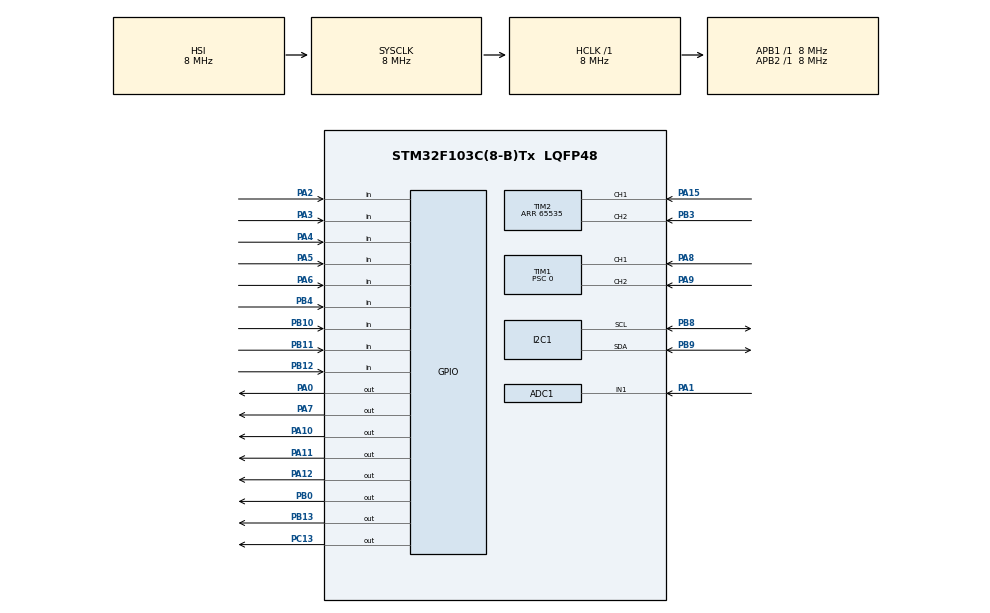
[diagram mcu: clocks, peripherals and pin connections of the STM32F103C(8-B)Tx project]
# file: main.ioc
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ADC1.Channel-0\#ChannelRegularConversion=ADC_CHANNEL_1
ADC1.ContinuousConvMode=ENABLE
ADC1.NbrOfConversion=1
ADC1.NbrOfConversionFlag=1
ADC1.Rank-0\#ChannelRegularConversion=1
ADC1.SamplingTime-0\#ChannelRegularConversion=ADC_SAMPLETIME_1CYCLE_5
ADC1.master=1
I2C1.I2C_Mode=I2C_Standard
Mcu.Family=STM32F1
Mcu.Name=STM32F103C(8-B)Tx
Mcu.Package=LQFP48
NVIC.PriorityGroup=NVIC_PRIORITYGROUP_4
PA0-WKUP.Signal=GPIO_Output
PA1.Signal=ADCx_IN1
PA10.Signal=GPIO_Output
PA11.Signal=GPIO_Output
PA12.Signal=GPIO_Output
PA13.Mode=Serial_Wire
PA13.Signal=SYS_JTMS-SWDIO
PA14.Mode=Serial_Wire
PA14.Signal=SYS_JTCK-SWCLK
PA15.GPIO_PuPd=GPIO_PULLUP
PA15.Signal=S_TIM2_CH1_ETR
PA2.GPIO_PuPd=GPIO_PULLUP
PA2.Signal=GPIO_Input
PA3.GPIO_PuPd=GPIO_PULLUP
PA3.Signal=GPIO_Input
PA4.GPIO_PuPd=GPIO_PULLUP
PA4.Signal=GPIO_Input
PA5.GPIO_PuPd=GPIO_PULLUP
PA5.Signal=GPIO_Input
PA6.GPIO_PuPd=GPIO_PULLUP
PA6.Signal=GPIO_Input
PA7.Signal=GPIO_Output
PA8.GPIO_Mode=GPIO_MODE_INPUT
PA8.GPIO_PuPd=GPIO_PULLUP
PA8.Signal=S_TIM1_CH1
PA9.GPIO_Mode=GPIO_MODE_INPUT
PA9.GPIO_PuPd=GPIO_PULLUP
PA9.Signal=S_TIM1_CH2
PB0.Signal=GPIO_Output
PB10.GPIO_PuPd=GPIO_PULLUP
PB10.Signal=GPIO_Input
PB11.GPIO_PuPd=GPIO_PULLUP
PB11.Signal=GPIO_Input
PB12.GPIO_PuPd=GPIO_PULLUP
PB12.Signal=GPIO_Input
PB13.Signal=GPIO_Output
PB3.GPIO_PuPd=GPIO_PULLUP
PB3.Signal=S_TIM2_CH2
PB4.GPIO_PuPd=GPIO_PULLUP
PB4.Signal=GPIO_Input
PB8.Mode=I2C
PB8.Signal=I2C1_SCL
PB9.Mode=I2C
PB9.Signal=I2C1_SDA
PC13-TAMPER-RTC.Signal=GPIO_Output
ProjectManager.HeapSize=0x200
ProjectManager.StackSize=0x400
ProjectManager.TargetToolchain=Makefile
RCC.AHBFreq_Value=8000000
RCC.APB1Freq_Value=8000000
RCC.APB1TimFreq_Value=8000000
RCC.APB2Freq_Value=8000000
RCC.APB2TimFreq_Value=8000000
RCC.HCLKFreq_Value=8000000
RCC.SYSCLKFreq_VALUE=8000000
RCC.USBFreq_Value=8000000
SH.ADCx_IN1.0=ADC1_IN1,IN1
SH.S_TIM1_CH1.0=TIM1_CH1,Encoder_Interface
SH.S_TIM1_CH2.0=TIM1_CH2,Encoder_Interface
SH.S_TIM2_CH1_ETR.0=TIM2_CH1,Encoder_Interface
SH.S_TIM2_CH2.0=TIM2_CH2,Encoder_Interface
TIM1.ClockDivision=TIM_CLOCKDIVISION_DIV1
TIM1.CounterMode=TIM_COUNTERMODE_UP
TIM1.EncoderMode=TIM_ENCODERMODE_TI1
TIM1.IC1Filter=0
TIM1.IC2Filter=0
TIM1.Period=65535
TIM1.Prescaler=0
TIM2.Period=65535
board=stm32-si5351-vfo

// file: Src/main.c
/* USER CODE BEGIN Header */
/**
  ******************************************************************************
  * @file           : main.c
  * @brief          : Main program body
  ******************************************************************************
  ** This notice applies to any and all portions of this file
  * that are not between comment pairs USER CODE BEGIN and
  * USER CODE END. Other portions of this file, whether
  * inserted by the user or by software development tools
  * are owned by their respective copyright owners.
  *
  * COPYRIGHT(c) 2020 STMicroelectronics
  *
  * Redistribution and use in source and binary forms, with or without modification,
  * are permitted provided that the following conditions are met:
  *   1. Redistributions of source code must retain the above copyright notice,
  *      this list of conditions and the following disclaimer.
  *   2. Redistributions in binary form must reproduce the above copyright notice,
  *      this list of conditions and the following disclaimer in the documentation
  *      and/or other materials provided with the distribution.
  *   3. Neither the name of STMicroelectronics nor the names of its contributors
  *      may be used to endorse or promote products derived from this software
  *      without specific prior written permission.
  *
  * THIS SOFTWARE IS PROVIDED BY THE COPYRIGHT HOLDERS AND CONTRIBUTORS "AS IS"
  * AND ANY EXPRESS OR IMPLIED WARRANTIES, INCLUDING, BUT NOT LIMITED TO, THE
  * IMPLIED WARRANTIES OF MERCHANTABILITY AND FITNESS FOR A PARTICULAR PURPOSE ARE
  * DISCLAIMED. IN NO EVENT SHALL THE COPYRIGHT HOLDER OR CONTRIBUTORS BE LIABLE
  * FOR ANY DIRECT, INDIRECT, INCIDENTAL, SPECIAL, EXEMPLARY, OR CONSEQUENTIAL
  * DAMAGES (INCLUDING, BUT NOT LIMITED TO, PROCUREMENT OF SUBSTITUTE GOODS OR
  * SERVICES; LOSS OF USE, DATA, OR PROFITS; OR BUSINESS INTERRUPTION) HOWEVER
  * CAUSED AND ON ANY THEORY OF LIABILITY, WHETHER IN CONTRACT, STRICT LIABILITY,
  * OR TORT (INCLUDING NEGLIGENCE OR OTHERWISE) ARISING IN ANY WAY OUT OF THE USE
  * OF THIS SOFTWARE, EVEN IF ADVISED OF THE POSSIBILITY OF SUCH DAMAGE.
  *
  ******************************************************************************
  */
/* USER CODE END Header */

#include "main.h"

/* USER CODE BEGIN Includes */
#include <string.h>
#include <stdlib.h>
#include <stdbool.h>
#include "si5351.h"
#include "lcd.h"
#include "spur_masking.h"

/* USER CODE END Includes */

ADC_HandleTypeDef hadc1;

I2C_HandleTypeDef hi2c1;

TIM_HandleTypeDef htim1;
TIM_HandleTypeDef htim2;

/* USER CODE BEGIN PV */
/* Private variables ---------------------------------------------------------*/

/* USER CODE END PV */

void SystemClock_Config(void);
static void MX_GPIO_Init(void);
static void MX_TIM1_Init(void);
static void MX_I2C1_Init(void);
static void MX_ADC1_Init(void);
static void MX_TIM2_Init(void);
/* USER CODE BEGIN PFP */
/* Private function prototypes -----------------------------------------------*/

/* USER CODE END PFP */

/* USER CODE BEGIN 0 */

#define CH_BFO1 0
#define CH_BFO2 1
#define CH_VFO_AND_CW  2

// IF2 Frequency can be tweaked a bit to reach lower insertion
// losses of the filter and/or to supress spurious signals

const int32_t IF2Frequency = 45000000 - 10000 /* supress spurs */;
const int32_t AlternativeIF2Frequency = 45000000 - 11500;

const int32_t XtalFilterCenterFrequency = 8998250;
const int32_t si5351_correction = 6468;

/* Adjust for used rotary encoders */
#define MAIN_DELTA_DIV 20
#define MAIN_DELTA_MULT -1
#define MULTI_DELTA_DIV 1
#define MULTI_DELTA_MULT 1

int32_t Fvfo = 1000000; // dummy value, will be changed below

const uint8_t ads1115_i2c_addr = (0x48 << 1);
typedef enum {
	ADS1115_CHANNEL_0 = 0,
	ADS1115_CHANNEL_1 = 1,
	ADS1115_CHANNEL_2 = 2,
	ADS1115_CHANNEL_3 = 3,
} ADS1115Channel_t;

const uint8_t eeprom_i2c_addr = (0x50 << 1);
#define KEYER_CONFIG_EEPROM_ADDR        0x0000

typedef enum {
	CLAR_MODE_DISABLED = 0,
	CLAR_MODE_RIT = 1,
	CLAR_MODE_XIT = 2,
} ClarMode_t;

bool lockMode = false;
bool fastMode = false;
bool bandMode = false;
bool shiftMode = false;
ClarMode_t clarMode = CLAR_MODE_DISABLED;

int32_t clarOffset = 0;
int32_t shiftOffset = 0;

int32_t sendStart = 0;
int32_t sendFinish = 0;
int32_t keyReadTimeout = 0;
int32_t sendTimeout = 0;
bool isSending = false;

typedef enum {
	CW_SEND_NONE = 0,
	CW_SEND_DIT = 1,
	CW_SEND_DAH = 2,
} CwSend_t;

CwSend_t lastSent = CW_SEND_NONE;
CwSend_t nextSend = CW_SEND_NONE;

typedef struct {
    uint16_t checksum;
    bool straightKey;
    int32_t speedWPM;
    int32_t ditTimeMs;
} KeyerConfig_t;

KeyerConfig_t keyerConfig = {
	.checksum = 0,
	.straightKey = false,
	.speedWPM = 18,

	// ditTimeMs = 60*1000/(50*WPM)
	// where 50 is the length in dits of "PARIS "
	// see https://morsecode.world/international/timing.html
	.ditTimeMs = 67,
};

bool inTransmitMode = false;
bool inCWTrainerMode = false;

#define BUTTON_DEBOUNCE_TIME_MS 200
typedef enum {
	BUTTON_STATUS_PRESSED = 0,
	BUTTON_STATUS_RELEASED = 1,
	BUTTON_STATUS_DEBOUNCE = 2,
} ButtonStatus_t;

typedef enum {
	USE_LPF_80 = 0,
	USE_LPF_40 = 1,
	USE_LPF_20 = 2,
	USE_LPF_15 = 3,
	USE_LPF_10 = 4,
} UseLPF_t;

typedef struct {
    int32_t minFreq;
    int32_t maxFreq;
    int32_t lastFreq;
    UseLPF_t lpf;
    /*
     * Compensate for losses in RG-174, frequency response of the given
     * PA depending on the used transistor, imperfections of the LPFs, etc.
     */
    si5351DriveStrength_t txDriveStrength;
} BandInfo_t;

int32_t currentBand = 3; // default: 20m

#define BANDS_NUMBER 8
BandInfo_t bands[BANDS_NUMBER] = {
	{
		.minFreq  = 3500000,
		.maxFreq  = 3570000,
		.lastFreq = 3560000,
		.lpf = USE_LPF_80,
		.txDriveStrength = SI5351_DRIVE_STRENGTH_2MA,
	},
	{
		.minFreq  = 7000000,
		.maxFreq  = 7040000,
		.lastFreq = 7030000,
		.lpf = USE_LPF_40,
		.txDriveStrength = SI5351_DRIVE_STRENGTH_2MA,
	},
	{
		.minFreq  = 10100000,
		.maxFreq  = 10130000,
		.lastFreq = 10116000,
		.lpf = USE_LPF_20,
		.txDriveStrength = SI5351_DRIVE_STRENGTH_2MA,
	},
	{
		.minFreq  = 14000000,
		.maxFreq  = 14070000,
		.lastFreq = 14060000,
		.lpf = USE_LPF_20,
		.txDriveStrength = SI5351_DRIVE_STRENGTH_2MA,
	},
	{
		.minFreq  = 18068000,
		.maxFreq  = 18095000,
		.lastFreq = 18086000,
		.lpf = USE_LPF_15,
		.txDriveStrength = SI5351_DRIVE_STRENGTH_2MA,
	},
	{
		.minFreq  = 21000000,
		.maxFreq  = 21070000,
		.lastFreq = 21060000,
		.lpf = USE_LPF_15,
		.txDriveStrength = SI5351_DRIVE_STRENGTH_8MA,
	},
	{
		.minFreq  = 24890000,
		.maxFreq  = 24915000,
		.lastFreq = 24906000,
		.lpf = USE_LPF_10,
		.txDriveStrength = SI5351_DRIVE_STRENGTH_8MA,
	},
	{
		.minFreq  = 28000000,
		.maxFreq  = 28070000,
		.lastFreq = 28060000,
		.lpf = USE_LPF_10,
		.txDriveStrength = SI5351_DRIVE_STRENGTH_8MA,
	},
};

// http://en.wikipedia.org/wiki/Jenkins_hash_function
uint32_t jenkinsHash(const uint8_t *data, const size_t len) {
  uint32_t hash, i;
  for(hash = i = 0; i < len; ++i) {
    hash += data[i];
    hash += (hash << 10);
    hash ^= (hash >> 6);
  }
  hash += (hash << 3);
  hash ^= (hash >> 11);
  hash += (hash << 15);
  return hash;
}

void loadKeyerConfig() {
    HAL_StatusTypeDef status;
    uint16_t savedChecksum;
    KeyerConfig_t savedKeyerConfig;

    for(;;) {
        status = HAL_I2C_IsDeviceReady(&hi2c1, eeprom_i2c_addr, 3, HAL_MAX_DELAY);
        if(status == HAL_OK)
            break;
    }

    HAL_I2C_Mem_Read(&hi2c1, eeprom_i2c_addr, KEYER_CONFIG_EEPROM_ADDR, I2C_MEMADD_SIZE_16BIT,
        (uint8_t*)&savedKeyerConfig, sizeof(savedKeyerConfig), HAL_MAX_DELAY);

    savedChecksum = savedKeyerConfig.checksum;
    savedKeyerConfig.checksum = 0;

    if((jenkinsHash((const uint8_t*)&savedKeyerConfig, sizeof(savedKeyerConfig)) & 0xFFFF) == savedChecksum) {
        keyerConfig = savedKeyerConfig;
    } else {
        LCD_Goto(0, 0);
        LCD_SendString("CHECKSUM");
        LCD_Goto(1, 0);
        LCD_SendString(" ERROR! ");
        HAL_Delay(2000);
        LCD_Clear();
    }
}

void saveKeyerConfig() {
    HAL_StatusTypeDef status;
    uint16_t checksum;
    keyerConfig.checksum = 0;

    checksum = (jenkinsHash((const uint8_t*)&keyerConfig, sizeof(keyerConfig)) & 0xFFFF);
    keyerConfig.checksum = checksum;

    for(;;) {
        status = HAL_I2C_IsDeviceReady(&hi2c1, eeprom_i2c_addr, 3, HAL_MAX_DELAY);
        if(status == HAL_OK)
            break;
    }

    HAL_I2C_Mem_Write(&hi2c1, eeprom_i2c_addr, KEYER_CONFIG_EEPROM_ADDR, I2C_MEMADD_SIZE_16BIT,
        (uint8_t*)&keyerConfig, sizeof(keyerConfig), HAL_MAX_DELAY);
}

double getADS1115Voltage(ADS1115Channel_t ch) {
	int16_t reading;
	uint8_t conversion[2];
	uint8_t config[] = { 0xC1, 0x83 };

	switch(ch) {
	case ADS1115_CHANNEL_0:
		config[0] = 0xC1;
		break;
	case ADS1115_CHANNEL_1:
		config[0] = 0xD1;
		break;
	case ADS1115_CHANNEL_2:
		config[0] = 0xE1;
		break;
	case ADS1115_CHANNEL_3:
		config[0] = 0xF1;
		break;
	}

    // Write to the config register (0x01):
    // byte 1: single conversion, channel number, FSR +/- 6.114 V, single shot
    // byte 2: 128 SPS, default comparator options, ALTR pin High-Z
    // For more detauls see section "9.6 Register Map" of the datasheet.
	HAL_I2C_Mem_Write(&hi2c1, ads1115_i2c_addr, 0x01, I2C_MEMADD_SIZE_8BIT,
		config, sizeof(config), HAL_MAX_DELAY);

	// Read from the conversion register (0x00)
	HAL_I2C_Mem_Read(&hi2c1, ads1115_i2c_addr, 0x00, I2C_MEMADD_SIZE_8BIT,
		conversion, sizeof(conversion), HAL_MAX_DELAY);

	reading = ((int16_t)conversion[0] << 8) | (int16_t)conversion[1];
	return ((double)reading) * (6.114 / 32768.0);
}

void changeKeyerSpeed(int32_t delta) {
	keyerConfig.speedWPM += delta;
	if(keyerConfig.speedWPM < 10) {
		keyerConfig.speedWPM = 9;
		keyerConfig.straightKey = true;
		keyerConfig.ditTimeMs = 60*1000/(50*15); // as for 15 WPM
	} else {
		keyerConfig.straightKey = false;
		if(keyerConfig.speedWPM > 30) {
			keyerConfig.speedWPM = 30;
		}

		keyerConfig.ditTimeMs = 60*1000/(50*keyerConfig.speedWPM);
	}
}

void SetupCLK(uint8_t output, int32_t Fclk, si5351DriveStrength_t driveStrength) {
	static bool pllSetupDone = false;
	si5351PLLConfig_t pll_conf;
	si5351OutputConfig_t out_conf;

	si5351_Calc(Fclk, &pll_conf, &out_conf);
	if(!pllSetupDone) {
		si5351_SetupPLL(SI5351_PLL_A, &pll_conf);
		pllSetupDone = true;
	}
	si5351_SetupOutput(output, SI5351_PLL_A, driveStrength, &out_conf);
}

// Switch on/off ENABLE_RX output
void enableRx(bool enable) {
	HAL_GPIO_WritePin(GPIOC, GPIO_PIN_13, enable ? GPIO_PIN_SET : GPIO_PIN_RESET);
}

// Switch on/off ENABLE_TX output
void enableTx(bool enable) {
	HAL_GPIO_WritePin(GPIOA, GPIO_PIN_0, enable ? GPIO_PIN_SET : GPIO_PIN_RESET);
}

void changeFrequency(int32_t delta, bool force) {
	static int32_t prevFvfo = 0;
	static int32_t prevFbfo1 = 0;
	static int32_t prevFbfo2 = 0;
	if((!force) && lockMode) {
		return;
	}

	if(fastMode) {
		delta *= 10;
	}
	bands[currentBand].lastFreq += 100*delta;
	if(fastMode && (delta != 0)) {
		bands[currentBand].lastFreq -= bands[currentBand].lastFreq % 1000;
	}

	if(bands[currentBand].lastFreq < bands[currentBand].minFreq) {
		bands[currentBand].lastFreq = bands[currentBand].minFreq;
	} else if(bands[currentBand].lastFreq > bands[currentBand].maxFreq) {
		bands[currentBand].lastFreq = bands[currentBand].maxFreq;
	}

	Fvfo = bands[currentBand].lastFreq;
	if(clarMode == CLAR_MODE_RIT) {
		Fvfo += clarOffset;
	}

	int32_t Fbfo1 = XtalFilterCenterFrequency + 1000;
	int32_t Fbfo2 = IF2Frequency + XtalFilterCenterFrequency;

	// mask the spurs
	const SpurMaskInfo* maskInfo = getSpurMaskingInfo(Fvfo);
	if(maskInfo != NULL) {
		Fvfo += maskInfo->clar;
		Fbfo1 -= maskInfo->shift;
		Fbfo2 -= maskInfo->shift;
		if(maskInfo->useAlternativeIF2Frequency) {
			Fbfo2 += AlternativeIF2Frequency - IF2Frequency;
			Fvfo += AlternativeIF2Frequency - IF2Frequency;
		}
	}

	Fvfo += IF2Frequency;

	if(shiftMode) {
		// SHIFT basically moves XtalFilterCenterFrequency
		Fbfo1 -= shiftOffset;
		Fbfo2 -= shiftOffset;
	}

	if(force || (Fbfo1 != prevFbfo1)) {
		SetupCLK(CH_BFO1, Fbfo1, SI5351_DRIVE_STRENGTH_4MA);
	}

	if(force || (Fbfo2 != prevFbfo2)) {
		SetupCLK(CH_BFO2, Fbfo2, SI5351_DRIVE_STRENGTH_4MA);
	}

	if(force || (Fvfo != prevFvfo)) {
		SetupCLK(CH_VFO_AND_CW, Fvfo, SI5351_DRIVE_STRENGTH_4MA);
	}

	prevFvfo = Fvfo;
	prevFbfo1 = Fbfo1;
	prevFbfo2 = Fbfo2;
}

void displayKeyerSettings() {
	char buff[16];
	if(keyerConfig.straightKey) {
		LCD_Goto(0, 0);
		LCD_SendString("SPEED --");
		LCD_Goto(1, 0);
		LCD_SendString("STRAIGHT");
	} else {
		snprintf(buff, sizeof(buff), "SPEED %02ld", keyerConfig.speedWPM);
		LCD_Goto(0, 0);
		LCD_SendString(buff);
		LCD_Goto(1, 0);
		LCD_SendString("IAMBIC  ");
	}
}

void displayFrequency() {
	char buff[16];
	snprintf(buff, sizeof(buff), "%02ld.%03ld.%01ld",
		bands[currentBand].lastFreq / 1000000,
		(bands[currentBand].lastFreq % 1000000) / 1000,
		(bands[currentBand].lastFreq % 1000) / 100);

    LCD_Goto(0, 0);
    LCD_SendString(buff);
}

void displayVoltageOrMode(bool force) {
	// don't forget to add '-u _printf_float' to LDFLAGS
	char buff[16];
	static int32_t lastVoltageUpdate = 0;
	static int32_t lastVoltageValue = 0;
    static double prevVoltage = 0.0;

	if(force) {
		LCD_Goto(1, 0);
		if(fastMode) {
			snprintf(buff, sizeof(buff), "%s FAST",
				shiftMode ? "SFT" :
					(clarMode == CLAR_MODE_DISABLED ? "RX " :
						(clarMode == CLAR_MODE_RIT ? "RIT" : "XIT")));
			LCD_SendString(buff);
			return;
		} else if(lockMode) {
			snprintf(buff, sizeof(buff), "%s LOCK",
				shiftMode ? "SFT" :
					(clarMode == CLAR_MODE_DISABLED ? "RX " :
						(clarMode == CLAR_MODE_RIT ? "RIT" : "XIT")));
			LCD_SendString(buff);
			return;
		} else if(bandMode) {
			snprintf(buff, sizeof(buff), "%s BAND",
				shiftMode ? "SFT" :
					(clarMode == CLAR_MODE_DISABLED ? "RX " :
						(clarMode == CLAR_MODE_RIT ? "RIT" : "XIT")));
			LCD_SendString(buff);
			return;
		} else if(shiftMode) {
			snprintf(buff, sizeof(buff), "SFT%s%04d",
				shiftOffset < 0 ? "-" : "+",
				abs(shiftOffset));
			LCD_SendString(buff);
			return;
		} else if(clarMode != CLAR_MODE_DISABLED) {
			snprintf(buff, sizeof(buff), "%s%s%04d",
				clarMode == CLAR_MODE_RIT ? "RIT" : "XIT",
				clarOffset < 0 ? "-" : "+",
				abs(clarOffset));
			LCD_SendString(buff);
			return;
		}
	}

	uint32_t now = HAL_GetTick();
	if(now - lastVoltageUpdate > 1000) {
	    HAL_ADC_PollForConversion(&hadc1, HAL_MAX_DELAY);
		lastVoltageValue = HAL_ADC_GetValue(&hadc1);
		lastVoltageUpdate = now;
	}

	double voltage = ((double)(lastVoltageValue)-1220.0)/190.0 + 6.9;
    if((!force) && (abs((int)(voltage*10) - (int)(prevVoltage*10)) <= 1)) {
		return;
	}

	prevVoltage = voltage;
	if(voltage < 9.95) {
		snprintf(buff, sizeof(buff), "RX  %.1fV", voltage);
	} else {
		snprintf(buff, sizeof(buff), "RX %.1fV", voltage);
	}

	LCD_Goto(1, 0);
	LCD_SendString(buff);
}

/*
 * Don't check SWR when the carrier is not transmitted.
 * This reduces digital noise in the headphones.
 */
bool checkSWR = false;

void keyDown() {
	// CW tone ON
	HAL_GPIO_WritePin(GPIOB, GPIO_PIN_13, GPIO_PIN_SET);
	if(inTransmitMode) {
		si5351_EnableOutputs(1 << CH_VFO_AND_CW);
		checkSWR = true;
	}
}

void keyUp() {
	// CW tone OFF
	HAL_GPIO_WritePin(GPIOB, GPIO_PIN_13, GPIO_PIN_RESET);
	if(inTransmitMode) {
		si5351_EnableOutputs(0);
		checkSWR = false;
	}
}

void switchLPFs(UseLPF_t lpf) {
	HAL_GPIO_WritePin(GPIOA, GPIO_PIN_10, lpf == USE_LPF_80 ? GPIO_PIN_SET : GPIO_PIN_RESET);
	HAL_GPIO_WritePin(GPIOA, GPIO_PIN_11, lpf == USE_LPF_40 ? GPIO_PIN_SET : GPIO_PIN_RESET);
	HAL_GPIO_WritePin(GPIOA, GPIO_PIN_12, lpf == USE_LPF_20 ? GPIO_PIN_SET : GPIO_PIN_RESET);
	HAL_GPIO_WritePin(GPIOB, GPIO_PIN_0,  lpf == USE_LPF_15 ? GPIO_PIN_SET : GPIO_PIN_RESET);
	HAL_GPIO_WritePin(GPIOA, GPIO_PIN_7,  lpf == USE_LPF_10 ? GPIO_PIN_SET : GPIO_PIN_RESET);
}

void changeBand(int32_t delta) {
	currentBand += delta;
	while(currentBand < 0) {
		currentBand += BANDS_NUMBER;
	}
	currentBand %= BANDS_NUMBER;

	switchLPFs(bands[currentBand].lpf);
	changeFrequency(0, false);
	si5351_EnableOutputs((1 << CH_VFO_AND_CW)|(1 << CH_BFO1)|(1 << CH_BFO2));
	displayFrequency();
}

void enterCWTrainerMode() {
	if(inCWTrainerMode) {
		return;
	}

	enableRx(false);
	inCWTrainerMode = true;
}

void leaveCWTrainerMode() {
	if(!inCWTrainerMode) {
		return;
	}

	enableRx(true);
	inCWTrainerMode = false;
}

void ensureTransmitMode() {
	if(inTransmitMode) {
		return;
	}

	int32_t targetFrequency = bands[currentBand].lastFreq;
	if(clarMode == CLAR_MODE_XIT) {
		targetFrequency += clarOffset;
	}

	si5351_EnableOutputs(0);
	SetupCLK(CH_VFO_AND_CW, targetFrequency, bands[currentBand].txDriveStrength);
	enableRx(false);
	enableTx(true);

	LCD_Goto(1, 0);
	LCD_SendString("TRANSMIT");

	inTransmitMode = true;
}

void ensureReceiveMode() {
	if(!inTransmitMode) {
		return;
	}
	enableTx(false);
	enableRx(true);

	// Restore the original VFO.
	// Using force=true because the VFO has changed, but changeFrequency()
	// doesn't know about it.
	changeFrequency(0, true);
	si5351_EnableOutputs((1 << CH_VFO_AND_CW)|(1 << CH_BFO1)|(1 << CH_BFO2));
	displayVoltageOrMode(true);
	inTransmitMode = false;
}

ButtonStatus_t buttonPressed(GPIO_TypeDef *GPIOx, uint16_t GPIO_Pin, uint32_t* lastPressed) {
	if(HAL_GPIO_ReadPin(GPIOx, GPIO_Pin) == GPIO_PIN_RESET) {
		uint32_t now = HAL_GetTick();
		if(now - *lastPressed > BUTTON_DEBOUNCE_TIME_MS) {
			*lastPressed = now;
			return BUTTON_STATUS_PRESSED;
		} else {
			return BUTTON_STATUS_DEBOUNCE;
		}
	}
	return BUTTON_STATUS_RELEASED;
}

bool buttonDitPressed() {
	return (HAL_GPIO_ReadPin(GPIOB, GPIO_PIN_11) == GPIO_PIN_RESET);
}

bool buttonDahPressed() {
	return (HAL_GPIO_ReadPin(GPIOB, GPIO_PIN_12) == GPIO_PIN_RESET);
}

bool switchRitMode() {
	return (HAL_GPIO_ReadPin(GPIOB, GPIO_PIN_4) == GPIO_PIN_RESET);
}

ButtonStatus_t buttonBandPressed() {
	static uint32_t lastPressed = 0;
	return buttonPressed(GPIOA, GPIO_PIN_3, &lastPressed);
}

ButtonStatus_t buttonFastPressed() {
	static uint32_t lastPressed = 0;
	return buttonPressed(GPIOB, GPIO_PIN_10, &lastPressed);
}

ButtonStatus_t buttonLockPressed() {
	static uint32_t lastPressed = 0;
	return buttonPressed(GPIOA, GPIO_PIN_2, &lastPressed);
}

ButtonStatus_t buttonClarPressed() {
	static uint32_t lastPressed = 0;
	return buttonPressed(GPIOA, GPIO_PIN_5, &lastPressed);
}

ButtonStatus_t buttonShiftPressed() {
	static uint32_t lastPressed = 0;
	return buttonPressed(GPIOA, GPIO_PIN_4, &lastPressed);
}

ButtonStatus_t buttonKeyerPressed() {
	static uint32_t lastPressed = 0;
	return buttonPressed(GPIOA, GPIO_PIN_6, &lastPressed);
}

// `straightKeyerKeyIsDown` is used to avoid calling keyUp()/keyDown() if we did it already.
// Calling HAL_GPIO_WritePin() too often generates a hearable noise.
bool straightKeyerKeyIsDown;

void initStraightKeyer() {
	straightKeyerKeyIsDown = false;
}

void processStraightKeyerLogic(bool pressed) {
	if(pressed) {
		if(!straightKeyerKeyIsDown) {
			keyDown();
			straightKeyerKeyIsDown = true;
		}
	} else if(straightKeyerKeyIsDown) {
		keyUp();
		straightKeyerKeyIsDown = false;
	}
}

void initIambicKeyer() {
	// iambic keyer doesn't need to init anything
}

void processIambicKeyerLogic(bool ditPressed, bool dahPressed) {
	int32_t now = HAL_GetTick();

	if(isSending && (now >= sendFinish)) {
		keyUp();
		isSending = false;
	}

	if(nextSend == CW_SEND_NONE) {
		if(ditPressed && (lastSent == CW_SEND_DAH)) {
			nextSend = CW_SEND_DIT;
		} else if(dahPressed && (lastSent == CW_SEND_DIT)) {
			nextSend = CW_SEND_DAH;
		} else if(now > keyReadTimeout) {
			if(ditPressed) {
				nextSend = CW_SEND_DIT;
			} else if (dahPressed) {
				nextSend = CW_SEND_DAH;
			}
		}
	}

	if((now > sendTimeout) && (nextSend != CW_SEND_NONE)) {
		if(nextSend == CW_SEND_DIT) {
			sendFinish = now + keyerConfig.ditTimeMs;
			keyReadTimeout = now + keyerConfig.ditTimeMs*2;
		} else if(nextSend == CW_SEND_DAH) {
			sendFinish = now + keyerConfig.ditTimeMs*3;
			keyReadTimeout = now + keyerConfig.ditTimeMs*3;
		}

		lastSent = nextSend;
		nextSend = CW_SEND_NONE;
		sendStart = now;
		sendTimeout = sendFinish + keyerConfig.ditTimeMs;
		isSending = true;
		keyDown();
	}
}

int32_t getDelta(TIM_HandleTypeDef* htim, int32_t *prevCounter, int32_t mult, int32_t div) {
	int32_t currCounter = __HAL_TIM_GET_COUNTER(htim);
	currCounter = mult*(currCounter / div);
	currCounter = 32767 - ((currCounter-1) & 0xFFFF) / 2;
	if(currCounter > 32768/2) {
		// convert ... 32766, 32767, 0, 1, 2 ... into:
		//               ... -2, -1, 0, 1, 2 ...
		// this simplifies `delta` calculation
		currCounter = currCounter-32768;
	}

	if(currCounter != *prevCounter) {
		int32_t delta = *prevCounter-currCounter;
		*prevCounter = currCounter;

		// debounce or skip counter overflow
		if((delta > -10) && (delta < 10)) {
			return delta;
		}
	}

	return 0;
}

void loopKeyer() {
	uint32_t CWTrainerModeEnterTime = 0;
	int32_t prevCounter = 0;
	displayKeyerSettings();
	// read the initial counter value
	(void)getDelta(&htim2, &prevCounter, MULTI_DELTA_MULT, MULTI_DELTA_DIV);

	for(;;) {
		bool ditPressed = buttonDitPressed();
		bool dahPressed = buttonDahPressed();

		if((ditPressed || dahPressed)) {
			CWTrainerModeEnterTime = HAL_GetTick();
			if(!inCWTrainerMode) {
				enterCWTrainerMode();
				if(keyerConfig.straightKey) {
					initStraightKeyer();
				} else {
					initIambicKeyer();
				}
			}
		} else {
			uint32_t tstamp = HAL_GetTick();
			if(tstamp - CWTrainerModeEnterTime > keyerConfig.ditTimeMs*10) {
				leaveCWTrainerMode();
			}
		}

		if(inCWTrainerMode) {
			if(keyerConfig.straightKey) {
				processStraightKeyerLogic(ditPressed);
			} else {
				processIambicKeyerLogic(ditPressed, dahPressed);
			}
		}

		int32_t delta = getDelta(&htim2, &prevCounter, MULTI_DELTA_MULT, MULTI_DELTA_DIV);
		if(delta != 0) {
			// reset the keyer logic if dit or dah is presset
			leaveCWTrainerMode();
			keyUp();
			changeKeyerSpeed(delta);
			displayKeyerSettings();
		}

		if(buttonKeyerPressed() == BUTTON_STATUS_PRESSED) {
			break;
		}

		HAL_Delay(5);
	}

	leaveCWTrainerMode();
	saveKeyerConfig();
	displayFrequency();
	displayVoltageOrMode(true);
}

void loopBand() {
	ClarMode_t prevClarMode = CLAR_MODE_DISABLED;
	int32_t prevCounter = 0;

	bandMode = true;
	displayVoltageOrMode(true);

	// read the initial counter value
	(void)getDelta(&htim1, &prevCounter, MAIN_DELTA_MULT, MAIN_DELTA_DIV);

	for(;;) {
		if(clarMode != CLAR_MODE_DISABLED) {
			if(switchRitMode()) {
				clarMode = CLAR_MODE_RIT;
			} else {
				clarMode = CLAR_MODE_XIT;
			}

			if(clarMode != prevClarMode) {
				displayVoltageOrMode(true);
				changeFrequency(0, false);
				prevClarMode = clarMode;
			}
		}

		int32_t delta = getDelta(&htim1, &prevCounter, MAIN_DELTA_MULT, MAIN_DELTA_DIV);
		if(delta != 0) {
			changeBand(delta);
		}

		if(buttonBandPressed() == BUTTON_STATUS_PRESSED) {
			break;
		}

		HAL_Delay(5);
	}

	bandMode = false;
	displayVoltageOrMode(true);
}

void loopMain() {
	static int32_t prevMainCounter = 0;
	static int32_t prevMultiCounter = 0;
	static uint32_t transmitModeEnterTime = 0;
	static bool highSWR = false;
	static uint32_t lastSWRCheckTime = 0;
	static bool prevClarModeRit = false;
	bool ditPressed = buttonDitPressed();
	bool dahPressed = buttonDahPressed();

	if(ditPressed || dahPressed) {
		transmitModeEnterTime = HAL_GetTick();
		if(!inTransmitMode) {
			ensureTransmitMode();
			highSWR = false;
			lastSWRCheckTime = 0;

			if(keyerConfig.straightKey) {
				initStraightKeyer();
			} else {
				initIambicKeyer();
			}
		}
	} else {
		uint32_t tstamp = HAL_GetTick();
		if((tstamp - transmitModeEnterTime > keyerConfig.ditTimeMs*15) && (inTransmitMode)) {
			ensureReceiveMode();
			// discard any changes in counters
			(void)getDelta(&htim1, &prevMainCounter, MAIN_DELTA_MULT, MAIN_DELTA_DIV);
			(void)getDelta(&htim2, &prevMultiCounter, MULTI_DELTA_MULT, MULTI_DELTA_DIV);
		}
	}

	if(inTransmitMode) {
		if(keyerConfig.straightKey) {
			processStraightKeyerLogic(ditPressed);
		} else {
			processIambicKeyerLogic(ditPressed, dahPressed);
		}

		if(checkSWR && (!highSWR)) {
			uint32_t tstamp = HAL_GetTick();
			if(tstamp - lastSWRCheckTime > 1000) {
				// Note: the ADS1115 module I have seems to have AIN0 and AIN1 swapped
				double v_fwd = getADS1115Voltage(ADS1115_CHANNEL_0);
				double v_ref = getADS1115Voltage(ADS1115_CHANNEL_1);
				if(v_fwd > 1.0 && (v_ref / v_fwd > 0.35)) { // indicates SWR ~2.3
					LCD_Goto(1, 0);
					LCD_SendString("HIGH SWR");
					highSWR = true;
				}
				lastSWRCheckTime = tstamp;
			}
		}
	} else {
		int32_t delta = getDelta(&htim1, &prevMainCounter, MAIN_DELTA_MULT, MAIN_DELTA_DIV);
		if(delta != 0) {
			changeFrequency(delta, false); // will do nothing in LOCK mode
			displayFrequency();
		}

		bool currClarModeRit = switchRitMode();
		if((clarMode != CLAR_MODE_DISABLED) && (currClarModeRit != prevClarModeRit)) {
			if(currClarModeRit) {
				clarMode = CLAR_MODE_RIT;
			} else {
				clarMode = CLAR_MODE_XIT;
			}
			changeFrequency(0, false);
			displayVoltageOrMode(true);
			prevClarModeRit = currClarModeRit;
		}

		if((clarMode != CLAR_MODE_DISABLED) && (!fastMode) && (!lockMode)) {
			delta = getDelta(&htim2, &prevMultiCounter, MULTI_DELTA_MULT, MULTI_DELTA_DIV);
			if(delta != 0) {
				clarOffset = clarOffset + delta*50;
				if(clarOffset < -3000) {
					clarOffset = -3000;
				} else if (clarOffset > 3000) {
					clarOffset = 3000;
				}

				if(clarMode == CLAR_MODE_RIT) {
					changeFrequency(0, false);
				}
				displayVoltageOrMode(true);
			}
		}

		if((shiftMode) && (!fastMode) && (!lockMode)) {
			delta = getDelta(&htim2, &prevMultiCounter, MULTI_DELTA_MULT, MULTI_DELTA_DIV);
			if(delta != 0) {
				shiftOffset = shiftOffset + delta*10;
				if(shiftOffset < -300) {
					shiftOffset = -300;
				} else if (shiftOffset > 300) {
					shiftOffset = 300;
				}
				changeFrequency(0, false);
				displayVoltageOrMode(true);
			}
		}

		if((buttonLockPressed() == BUTTON_STATUS_PRESSED) && (!fastMode)) {
			lockMode = !lockMode;
			if(!lockMode) {
				// discard any changes in counters
				(void)getDelta(&htim1, &prevMainCounter, MAIN_DELTA_MULT, MAIN_DELTA_DIV);
				(void)getDelta(&htim2, &prevMultiCounter, MULTI_DELTA_MULT, MULTI_DELTA_DIV);
			}
			displayVoltageOrMode(true);
		} else if(!lockMode) {
			if((buttonBandPressed() == BUTTON_STATUS_PRESSED) && (!fastMode)) {
				loopBand();
				// discard any changes in counters
				(void)getDelta(&htim1, &prevMainCounter, MAIN_DELTA_MULT, MAIN_DELTA_DIV);
				(void)getDelta(&htim2, &prevMultiCounter, MULTI_DELTA_MULT, MULTI_DELTA_DIV);
			} else if(buttonFastPressed() == BUTTON_STATUS_PRESSED) {
				fastMode = !fastMode;
				if(!fastMode) {
					// discard any changes in counters
					(void)getDelta(&htim1, &prevMainCounter, MAIN_DELTA_MULT, MAIN_DELTA_DIV);
					(void)getDelta(&htim2, &prevMultiCounter, MULTI_DELTA_MULT, MULTI_DELTA_DIV);
				}
				displayVoltageOrMode(true);
			} else if((!shiftMode) && (buttonClarPressed() == BUTTON_STATUS_PRESSED)) {
				if(clarMode == CLAR_MODE_DISABLED) {
					clarMode = currClarModeRit ? CLAR_MODE_RIT : CLAR_MODE_XIT;
				} else {
					clarMode = CLAR_MODE_DISABLED;
					changeFrequency(0, false);
				}
				clarOffset = 0;
				(void)getDelta(&htim2, &prevMultiCounter, MULTI_DELTA_MULT, MULTI_DELTA_DIV);
				displayVoltageOrMode(true);
			} else if((!clarMode) && (buttonShiftPressed() == BUTTON_STATUS_PRESSED)) {
				shiftOffset = 0;
				shiftMode = !shiftMode;
				if(!shiftMode) {
					changeFrequency(0, false);
				}

				(void)getDelta(&htim2, &prevMultiCounter, MULTI_DELTA_MULT, MULTI_DELTA_DIV);
				displayVoltageOrMode(true);
			} else if(buttonKeyerPressed() == BUTTON_STATUS_PRESSED) {
				loopKeyer();
				// discard any changes in counters
				(void)getDelta(&htim1, &prevMainCounter, MAIN_DELTA_MULT, MAIN_DELTA_DIV);
				(void)getDelta(&htim2, &prevMultiCounter, MULTI_DELTA_MULT, MULTI_DELTA_DIV);
			}
		}

		if((clarMode == CLAR_MODE_DISABLED) && (!shiftMode) && (!lockMode) && (!fastMode)) {
			displayVoltageOrMode(false);
		}
	}

    HAL_Delay(5);
}

void checkSpurMaskingInfoSorted() {
	char buff[16];
	int32_t first_mismatch;
	if(!isSpurMaskingInfoSorted(&first_mismatch)) {
		snprintf(buff, sizeof(buff), "%08u", (unsigned int)first_mismatch);
		LCD_Goto(0, 0);
		LCD_SendString("SORT ERR");
		LCD_Goto(1, 0);
		LCD_SendString(buff);
		HAL_Delay(5000);
		LCD_Clear();
	}
}

void init() {
/*
	// Code for determining the correction factor for Si5351

	si5351_Init(si5351_correction);
	si5351PLLConfig_t pll_conf;
	si5351OutputConfig_t out_conf;
	int32_t Fclk = 10000000;

	si5351_Calc(Fclk, &pll_conf, &out_conf);
	si5351_SetupPLL(SI5351_PLL_A, &pll_conf);
	si5351_SetupOutput(0, SI5351_PLL_A, SI5351_DRIVE_STRENGTH_4MA, &out_conf);
	si5351_EnableOutputs(1<<0);

	while(1) {
		HAL_Delay(100);
	}
*/
	keyUp();

	// Give the LCD and Si5351 some time to initialize after powering up
	HAL_Delay(1000);

	HAL_TIM_Encoder_Start(&htim1, TIM_CHANNEL_ALL);
	HAL_TIM_Encoder_Start(&htim2, TIM_CHANNEL_ALL);
	HAL_ADC_Start(&hadc1);

    LCD_Init();
    LCD_Goto(0, 0);
    LCD_SendString(" HBR/CW ");
    LCD_Goto(1, 0);
    LCD_SendString("Jan 2022");
	HAL_Delay(1000);
    LCD_Clear();

    LCD_Goto(0, 0);
    LCD_SendString("I2C:  ");
    bool first_line = true;
    for(uint16_t i = 1; i < 128; i++) {
		HAL_StatusTypeDef res;
        res = HAL_I2C_IsDeviceReady(&hi2c1, i << 1, 1, 10);
        if(res == HAL_OK) {
            char msg[64];
            snprintf(msg, sizeof(msg), "%02X ", i);
    		LCD_SendString(msg);
    		if(first_line) {
    			LCD_Goto(1, 0);
    			first_line = false;
    		}
        }
    }
	HAL_Delay(1000);
    LCD_Clear();

    checkSpurMaskingInfoSorted();
    loadKeyerConfig();
	displayVoltageOrMode(true);

	si5351_Init(si5351_correction);
	changeBand(0); // calls changeFrequency() which changes BFO1, BFO2, and VFO

	inTransmitMode = true;
	ensureReceiveMode();
}

/* USER CODE END 0 */

int main(void)
{

  /* MCU Configuration--------------------------------------------------------*/

  /* Reset of all peripherals, Initializes the Flash interface and the Systick. */
  HAL_Init();

  /* Configure the system clock */
  SystemClock_Config();

  /* Initialize all configured peripherals */
  MX_GPIO_Init();
  MX_TIM1_Init();
  MX_I2C1_Init();
  MX_ADC1_Init();
  MX_TIM2_Init();
  /* USER CODE BEGIN 2 */
  init();
  /* USER CODE END 2 */

  /* Infinite loop */
  /* USER CODE BEGIN WHILE */
  while (1)
  {
    loopMain();
    /* USER CODE END WHILE */

  }
}

void SystemClock_Config(void)
{
  RCC_OscInitTypeDef RCC_OscInitStruct = {0};
  RCC_ClkInitTypeDef RCC_ClkInitStruct = {0};
  RCC_PeriphCLKInitTypeDef PeriphClkInit = {0};

  /**Initializes the CPU, AHB and APB busses clocks
  */
  RCC_OscInitStruct.OscillatorType = RCC_OSCILLATORTYPE_HSI;
  RCC_OscInitStruct.HSIState = RCC_HSI_ON;
  RCC_OscInitStruct.HSICalibrationValue = RCC_HSICALIBRATION_DEFAULT;
  RCC_OscInitStruct.PLL.PLLState = RCC_PLL_NONE;
  if (HAL_RCC_OscConfig(&RCC_OscInitStruct) != HAL_OK)
  {
    Error_Handler();
  }
  /**Initializes the CPU, AHB and APB busses clocks
  */
  RCC_ClkInitStruct.ClockType = RCC_CLOCKTYPE_HCLK|RCC_CLOCKTYPE_SYSCLK
                              |RCC_CLOCKTYPE_PCLK1|RCC_CLOCKTYPE_PCLK2;
  RCC_ClkInitStruct.SYSCLKSource = RCC_SYSCLKSOURCE_HSI;
  RCC_ClkInitStruct.AHBCLKDivider = RCC_SYSCLK_DIV1;
  RCC_ClkInitStruct.APB1CLKDivider = RCC_HCLK_DIV1;
  RCC_ClkInitStruct.APB2CLKDivider = RCC_HCLK_DIV1;

  if (HAL_RCC_ClockConfig(&RCC_ClkInitStruct, FLASH_LATENCY_0) != HAL_OK)
  {
    Error_Handler();
  }
  PeriphClkInit.PeriphClockSelection = RCC_PERIPHCLK_ADC;
  PeriphClkInit.AdcClockSelection = RCC_ADCPCLK2_DIV2;
  if (HAL_RCCEx_PeriphCLKConfig(&PeriphClkInit) != HAL_OK)
  {
    Error_Handler();
  }
}

static void MX_ADC1_Init(void)
{

  ADC_ChannelConfTypeDef sConfig = {0};

  /**Common config
  */
  hadc1.Instance = ADC1;
  hadc1.Init.ScanConvMode = ADC_SCAN_DISABLE;
  hadc1.Init.ContinuousConvMode = ENABLE;
  hadc1.Init.DiscontinuousConvMode = DISABLE;
  hadc1.Init.ExternalTrigConv = ADC_SOFTWARE_START;
  hadc1.Init.DataAlign = ADC_DATAALIGN_RIGHT;
  hadc1.Init.NbrOfConversion = 1;
  if (HAL_ADC_Init(&hadc1) != HAL_OK)
  {
    Error_Handler();
  }
  /**Configure Regular Channel
  */
  sConfig.Channel = ADC_CHANNEL_1;
  sConfig.Rank = ADC_REGULAR_RANK_1;
  sConfig.SamplingTime = ADC_SAMPLETIME_1CYCLE_5;
  if (HAL_ADC_ConfigChannel(&hadc1, &sConfig) != HAL_OK)
  {
    Error_Handler();
  }

}

static void MX_I2C1_Init(void)
{

  hi2c1.Instance = I2C1;
  hi2c1.Init.ClockSpeed = 100000;
  hi2c1.Init.DutyCycle = I2C_DUTYCYCLE_2;
  hi2c1.Init.OwnAddress1 = 0;
  hi2c1.Init.AddressingMode = I2C_ADDRESSINGMODE_7BIT;
  hi2c1.Init.DualAddressMode = I2C_DUALADDRESS_DISABLE;
  hi2c1.Init.OwnAddress2 = 0;
  hi2c1.Init.GeneralCallMode = I2C_GENERALCALL_DISABLE;
  hi2c1.Init.NoStretchMode = I2C_NOSTRETCH_DISABLE;
  if (HAL_I2C_Init(&hi2c1) != HAL_OK)
  {
    Error_Handler();
  }

}

static void MX_TIM1_Init(void)
{

  TIM_Encoder_InitTypeDef sConfig = {0};
  TIM_MasterConfigTypeDef sMasterConfig = {0};

  htim1.Instance = TIM1;
  htim1.Init.Prescaler = 0;
  htim1.Init.CounterMode = TIM_COUNTERMODE_UP;
  htim1.Init.Period = 65535;
  htim1.Init.ClockDivision = TIM_CLOCKDIVISION_DIV1;
  htim1.Init.RepetitionCounter = 0;
  htim1.Init.AutoReloadPreload = TIM_AUTORELOAD_PRELOAD_DISABLE;
  sConfig.EncoderMode = TIM_ENCODERMODE_TI1;
  sConfig.IC1Polarity = TIM_ICPOLARITY_RISING;
  sConfig.IC1Selection = TIM_ICSELECTION_DIRECTTI;
  sConfig.IC1Prescaler = TIM_ICPSC_DIV1;
  sConfig.IC1Filter = 0;
  sConfig.IC2Polarity = TIM_ICPOLARITY_RISING;
  sConfig.IC2Selection = TIM_ICSELECTION_DIRECTTI;
  sConfig.IC2Prescaler = TIM_ICPSC_DIV1;
  sConfig.IC2Filter = 0;
  if (HAL_TIM_Encoder_Init(&htim1, &sConfig) != HAL_OK)
  {
    Error_Handler();
  }
  sMasterConfig.MasterOutputTrigger = TIM_TRGO_RESET;
  sMasterConfig.MasterSlaveMode = TIM_MASTERSLAVEMODE_DISABLE;
  if (HAL_TIMEx_MasterConfigSynchronization(&htim1, &sMasterConfig) != HAL_OK)
  {
    Error_Handler();
  }

}

static void MX_TIM2_Init(void)
{

  TIM_Encoder_InitTypeDef sConfig = {0};
  TIM_MasterConfigTypeDef sMasterConfig = {0};

  htim2.Instance = TIM2;
  htim2.Init.Prescaler = 0;
  htim2.Init.CounterMode = TIM_COUNTERMODE_UP;
  htim2.Init.Period = 65535;
  htim2.Init.ClockDivision = TIM_CLOCKDIVISION_DIV1;
  htim2.Init.AutoReloadPreload = TIM_AUTORELOAD_PRELOAD_DISABLE;
  sConfig.EncoderMode = TIM_ENCODERMODE_TI1;
  sConfig.IC1Polarity = TIM_ICPOLARITY_RISING;
  sConfig.IC1Selection = TIM_ICSELECTION_DIRECTTI;
  sConfig.IC1Prescaler = TIM_ICPSC_DIV1;
  sConfig.IC1Filter = 0;
  sConfig.IC2Polarity = TIM_ICPOLARITY_RISING;
  sConfig.IC2Selection = TIM_ICSELECTION_DIRECTTI;
  sConfig.IC2Prescaler = TIM_ICPSC_DIV1;
  sConfig.IC2Filter = 0;
  if (HAL_TIM_Encoder_Init(&htim2, &sConfig) != HAL_OK)
  {
    Error_Handler();
  }
  sMasterConfig.MasterOutputTrigger = TIM_TRGO_RESET;
  sMasterConfig.MasterSlaveMode = TIM_MASTERSLAVEMODE_DISABLE;
  if (HAL_TIMEx_MasterConfigSynchronization(&htim2, &sMasterConfig) != HAL_OK)
  {
    Error_Handler();
  }

}

static void MX_GPIO_Init(void)
{
  GPIO_InitTypeDef GPIO_InitStruct = {0};

  /* GPIO Ports Clock Enable */
  __HAL_RCC_GPIOC_CLK_ENABLE();
  __HAL_RCC_GPIOA_CLK_ENABLE();
  __HAL_RCC_GPIOB_CLK_ENABLE();

  /*Configure GPIO pin Output Level */
  HAL_GPIO_WritePin(GPIOC, GPIO_PIN_13, GPIO_PIN_RESET);

  /*Configure GPIO pin Output Level */
  HAL_GPIO_WritePin(GPIOA, GPIO_PIN_0|GPIO_PIN_7|GPIO_PIN_10|GPIO_PIN_11
                          |GPIO_PIN_12, GPIO_PIN_RESET);

  /*Configure GPIO pin Output Level */
  HAL_GPIO_WritePin(GPIOB, GPIO_PIN_0|GPIO_PIN_13, GPIO_PIN_RESET);

  /*Configure GPIO pin : PC13 */
  GPIO_InitStruct.Pin = GPIO_PIN_13;
  GPIO_InitStruct.Mode = GPIO_MODE_OUTPUT_PP;
  GPIO_InitStruct.Pull = GPIO_NOPULL;
  GPIO_InitStruct.Speed = GPIO_SPEED_FREQ_LOW;
  HAL_GPIO_Init(GPIOC, &GPIO_InitStruct);

  /*Configure GPIO pins : PA0 PA7 PA10 PA11
                           PA12 */
  GPIO_InitStruct.Pin = GPIO_PIN_0|GPIO_PIN_7|GPIO_PIN_10|GPIO_PIN_11
                          |GPIO_PIN_12;
  GPIO_InitStruct.Mode = GPIO_MODE_OUTPUT_PP;
  GPIO_InitStruct.Pull = GPIO_NOPULL;
  GPIO_InitStruct.Speed = GPIO_SPEED_FREQ_LOW;
  HAL_GPIO_Init(GPIOA, &GPIO_InitStruct);

  /*Configure GPIO pins : PA2 PA3 PA4 PA5
                           PA6 */
  GPIO_InitStruct.Pin = GPIO_PIN_2|GPIO_PIN_3|GPIO_PIN_4|GPIO_PIN_5
                          |GPIO_PIN_6;
  GPIO_InitStruct.Mode = GPIO_MODE_INPUT;
  GPIO_InitStruct.Pull = GPIO_PULLUP;
  HAL_GPIO_Init(GPIOA, &GPIO_InitStruct);

  /*Configure GPIO pins : PB0 PB13 */
  GPIO_InitStruct.Pin = GPIO_PIN_0|GPIO_PIN_13;
  GPIO_InitStruct.Mode = GPIO_MODE_OUTPUT_PP;
  GPIO_InitStruct.Pull = GPIO_NOPULL;
  GPIO_InitStruct.Speed = GPIO_SPEED_FREQ_LOW;
  HAL_GPIO_Init(GPIOB, &GPIO_InitStruct);

  /*Configure GPIO pins : PB10 PB11 PB12 PB4 */
  GPIO_InitStruct.Pin = GPIO_PIN_10|GPIO_PIN_11|GPIO_PIN_12|GPIO_PIN_4;
  GPIO_InitStruct.Mode = GPIO_MODE_INPUT;
  GPIO_InitStruct.Pull = GPIO_PULLUP;
  HAL_GPIO_Init(GPIOB, &GPIO_InitStruct);

}

void Error_Handler(void)
{
  while(1)
  {
  }
}

/************************ (C) COPYRIGHT STMicroelectronics *****END OF FILE****/
